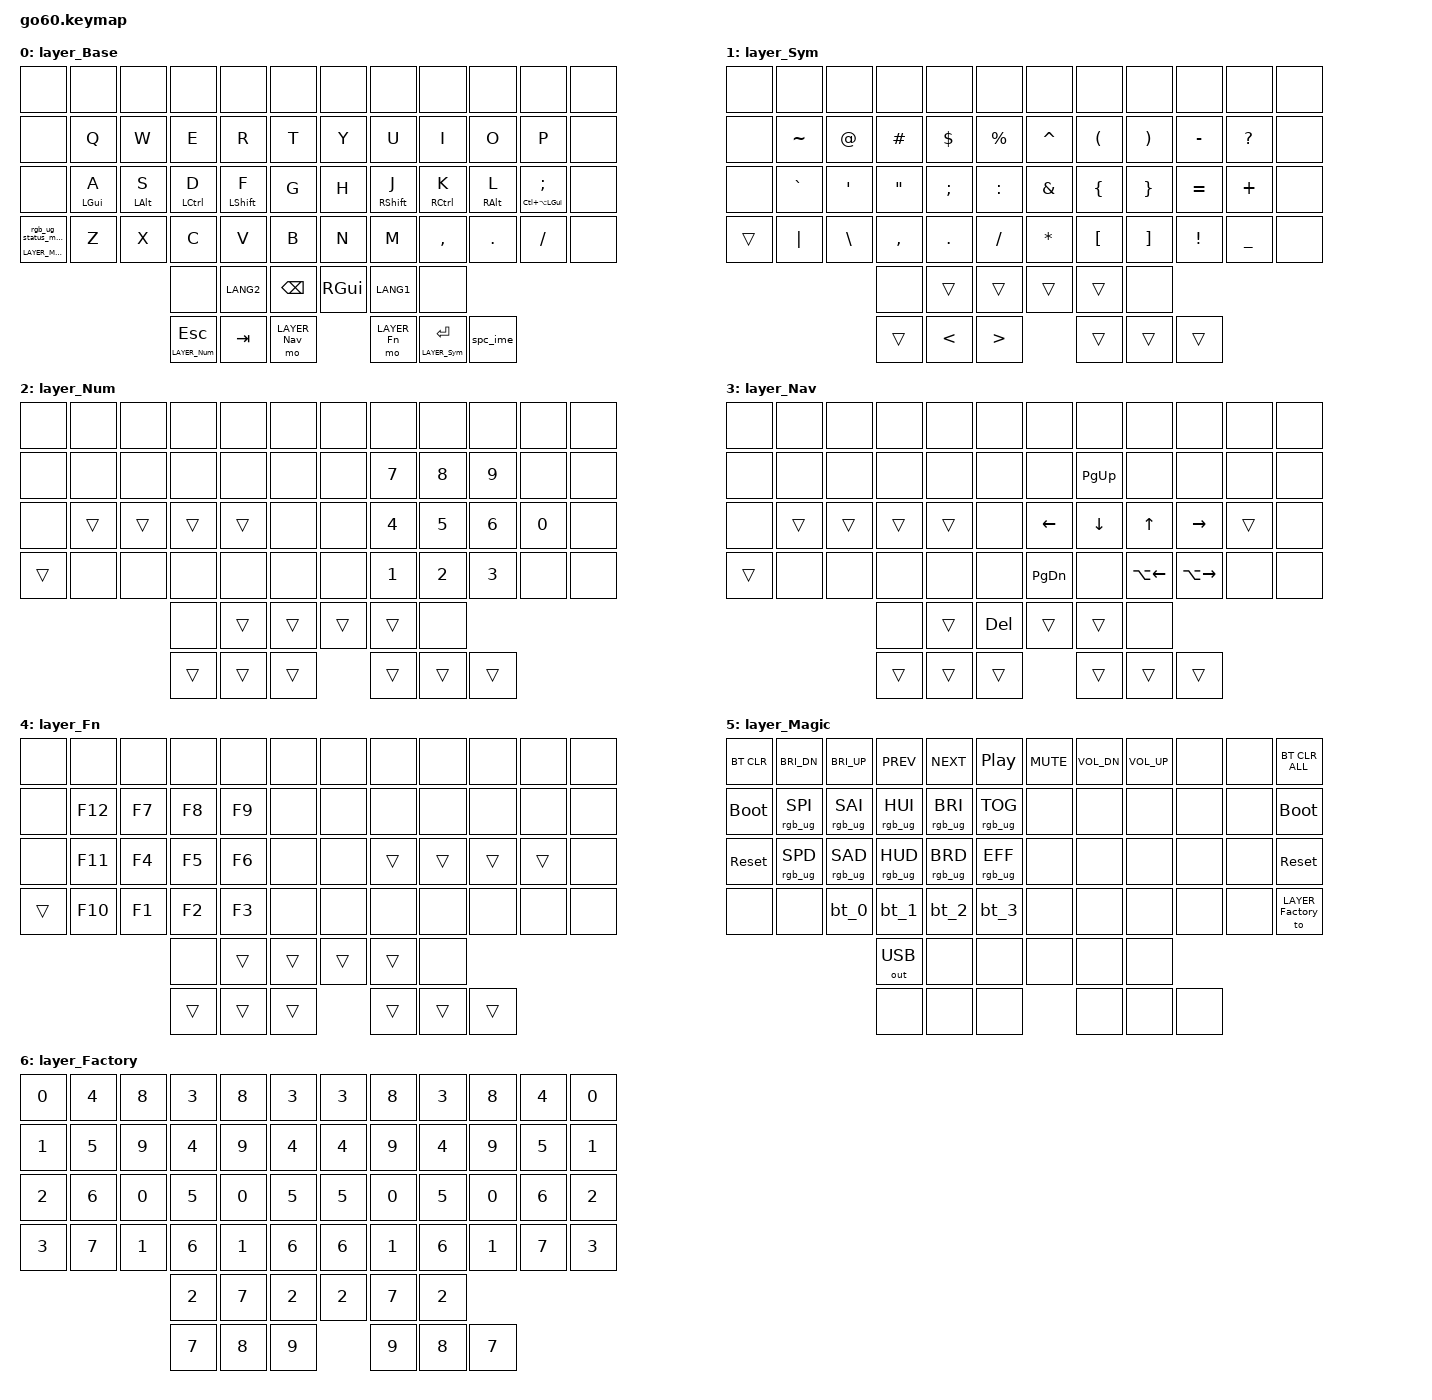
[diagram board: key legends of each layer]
#include <behaviors.dtsi>

#include <dt-bindings/zmk/bt.h>
#include <dt-bindings/zmk/ext_power.h>
#include <dt-bindings/zmk/keys.h>
#include <dt-bindings/zmk/outputs.h>
#include <dt-bindings/zmk/rgb.h>
#include <dt-bindings/zmk/input_transform.h>
#include <dt-bindings/zmk/pointing.h>

#include <input/processors.dtsi>
#include <zephyr/dt-bindings/input/input-event-codes.h>

// layers
#define LAYER_Base 0
#define LAYER_Sym 1
#define LAYER_Num 2
#define LAYER_Nav 3
#define LAYER_Fn 4
#define LAYER_Magic 5
#define LAYER_Factory 6

#define KEYS_L  0  1  2  3  4  5 12 13 14 15 16 17 24 25 26 27 28 29 36 37 38 39 40 41 48 49 50
#define KEYS_R  6  7  8  9 10 11 18 19 20 21 22 23 30 31 32 33 34 35 42 43 44 45 46 47 51 52 53
#define KEYS_T 54 55 56 57 58 59

/ {
    input_processors {
        zip_click_to_right_click_mapper: zip_click_to_right_click_mapper {
            compatible = "zmk,input-processor-code-mapper";
            #input-processor-cells = <0>;
            type = <INPUT_EV_KEY>;
            map = <INPUT_BTN_0 INPUT_BTN_1>;
        };
    };

    behaviors {
        magic: magic {
            compatible = "zmk,behavior-hold-tap";
            #binding-cells = <2>;
            flavor = "tap-preferred";
            tapping-term-ms = <200>;
            bindings = <&mo>, <&rgb_ug_status_macro>;
        };

        hrm_l: hrm_l {
            compatible = "zmk,behavior-hold-tap";
            #binding-cells = <2>;
            flavor = "balanced";
            tapping-term-ms = <180>;
            require-prior-idle-ms = <250>;
            quick-tap-ms = <200>;
            bindings = <&kp>, <&kp>;
            hold-trigger-key-positions = <KEYS_R KEYS_T>;
            hold-trigger-on-release;
        };

        hrm_lp: hrm_lp {
            compatible = "zmk,behavior-hold-tap";
            #binding-cells = <2>;
            flavor = "balanced";
            tapping-term-ms = <220>;
            require-prior-idle-ms = <250>;
            quick-tap-ms = <200>;
            bindings = <&kp>, <&kp>;
            hold-trigger-key-positions = <KEYS_R KEYS_T>;
            hold-trigger-on-release;
        };

        hrm_r: hrm_r {
            compatible = "zmk,behavior-hold-tap";
            #binding-cells = <2>;
            flavor = "balanced";
            tapping-term-ms = <180>;
            require-prior-idle-ms = <250>;
            quick-tap-ms = <200>;
            bindings = <&kp>, <&kp>;
            hold-trigger-key-positions = <KEYS_L KEYS_T>;
            hold-trigger-on-release;
        };

        mt_hyper: mt_hyper {
            compatible = "zmk,behavior-hold-tap";
            #binding-cells = <2>;
            flavor = "balanced";
            tapping-term-ms = <180>;
            require-prior-idle-ms = <150>;
            quick-tap-ms = <200>;
            bindings = <&kp>, <&kp>;
        };

        lt_thumb: lt_thumb {
            compatible = "zmk,behavior-hold-tap";
            #binding-cells = <2>;
            flavor = "balanced";
            tapping-term-ms = <180>;
            quick-tap-ms = <200>;
            bindings = <&mo>, <&kp>;
        };

        spc_ime: spc_ime {
            compatible = "zmk,behavior-mod-morph";
            #binding-cells = <0>;
            bindings = <&kp SPACE>, <&tmux_prefix>;
            mods = <(MOD_LCTL|MOD_RCTL)>;
        };

        bt_0: bt_0 {
            compatible = "zmk,behavior-tap-dance";
            #binding-cells = <0>;
            tapping-term-ms = <200>;
            bindings = <&bt_select_0>, <&bt BT_DISC 0>;
        };
        bt_1: bt_1 {
            compatible = "zmk,behavior-tap-dance";
            #binding-cells = <0>;
            tapping-term-ms = <200>;
            bindings = <&bt_select_1>, <&bt BT_DISC 1>;
        };
        bt_2: bt_2 {
            compatible = "zmk,behavior-tap-dance";
            #binding-cells = <0>;
            tapping-term-ms = <200>;
            bindings = <&bt_select_2>, <&bt BT_DISC 2>;
        };
        bt_3: bt_3 {
            compatible = "zmk,behavior-tap-dance";
            #binding-cells = <0>;
            tapping-term-ms = <200>;
            bindings = <&bt_select_3>, <&bt BT_DISC 3>;
        };
    };

    macros {
        tmux_prefix: tmux_prefix {
            compatible = "zmk,behavior-macro";
            #binding-cells = <0>;
            bindings = <&macro_tap &kp LANG2 &kp LC(SPACE)>;
        };

        rgb_ug_status_macro: rgb_ug_status_macro {
            compatible = "zmk,behavior-macro";
            #binding-cells = <0>;
            bindings = <&rgb_ug RGB_STATUS>;
        };

        bt_select_0: bt_select_0 {
            compatible = "zmk,behavior-macro";
            #binding-cells = <0>;
            bindings
                = <&out OUT_BLE>,
                  <&bt BT_SEL 0>;
        };
        bt_select_1: bt_select_1 {
            compatible = "zmk,behavior-macro";
            #binding-cells = <0>;
            bindings
                = <&out OUT_BLE>,
                  <&bt BT_SEL 1>;
        };
        bt_select_2: bt_select_2 {
            compatible = "zmk,behavior-macro";
            #binding-cells = <0>;
            bindings
                = <&out OUT_BLE>,
                  <&bt BT_SEL 2>;
        };
        bt_select_3: bt_select_3 {
            compatible = "zmk,behavior-macro";
            #binding-cells = <0>;
            bindings
                = <&out OUT_BLE>,
                  <&bt BT_SEL 3>;
        };
    };

    keymap {
        compatible = "zmk,keymap";

        layer_Base {
            bindings = <
                           &none           &none          &none           &none           &none  &none        &none           &none           &none          &none                        &none  &none
                           &none           &kp Q          &kp W           &kp E           &kp R  &kp T        &kp Y           &kp U           &kp I          &kp O                        &kp P  &none
                           &none  &hrm_lp LGUI A  &hrm_l LALT S  &hrm_l LCTRL D  &hrm_l LSHFT F  &kp G        &kp H  &hrm_r RSHFT J  &hrm_r RCTRL K  &hrm_r RALT L  &mt_hyper LC(LA(LGUI)) SEMI  &none
            &magic LAYER_Magic 0           &kp Z          &kp X           &kp C           &kp V  &kp B        &kp N           &kp M       &kp COMMA        &kp DOT                     &kp FSLH  &none
                                                                          &none       &kp LANG2  &kp BSPC        &kp RGUI       &kp LANG1           &none
                                                                     &lt_thumb LAYER_Num ESC  &kp TAB  &mo LAYER_Nav      &mo LAYER_Fn  &lt_thumb LAYER_Sym RET  &spc_ime
            >;
        };

        layer_Sym {
            bindings = <
             &none      &none     &none      &none     &none      &none            &none     &none     &none      &none      &none  &none
             &none  &kp TILDE    &kp AT   &kp HASH  &kp DLLR  &kp PRCNT        &kp CARET  &kp LPAR  &kp RPAR  &kp MINUS  &kp QMARK  &none
             &none  &kp GRAVE   &kp SQT    &kp DQT  &kp SEMI  &kp COLON         &kp AMPS  &kp LBRC  &kp RBRC  &kp EQUAL   &kp PLUS  &none
            &trans   &kp PIPE  &kp BSLH  &kp COMMA   &kp DOT   &kp FSLH        &kp ASTRK  &kp LBKT  &kp RBKT   &kp EXCL  &kp UNDER  &none
                                             &none    &trans     &trans           &trans    &trans     &none
                                             &trans  &kp LESS_THAN  &kp GREATER_THAN      &trans  &trans  &trans
            >;
        };

        layer_Num {
            bindings = <
             &none   &none   &none   &none   &none  &none        &none   &none   &none   &none   &none  &none
             &none   &none   &none   &none   &none  &none        &none  &kp N7  &kp N8  &kp N9   &none  &none
             &none  &trans  &trans  &trans  &trans  &none        &none  &kp N4  &kp N5  &kp N6  &kp N0  &none
            &trans   &none   &none   &none   &none  &none        &none  &kp N1  &kp N2  &kp N3   &none  &none
                                     &none  &trans  &trans        &trans  &trans   &none
                                        &trans  &trans  &trans      &trans  &trans  &trans
            >;
        };

        layer_Nav {
            bindings = <
             &none   &none   &none   &none   &none  &none            &none      &none         &none          &none   &none  &none
             &none   &none   &none   &none   &none  &none            &none  &kp PG_UP         &none          &none   &none  &none
             &none  &trans  &trans  &trans  &trans  &none         &kp LEFT   &kp DOWN        &kp UP      &kp RIGHT  &trans  &none
            &trans   &none   &none   &none   &none  &none        &kp PG_DN      &none  &kp LA(LEFT)  &kp LA(RIGHT)   &none  &none
                                     &none  &trans  &kp DEL           &trans     &trans         &none
                                        &trans  &trans  &trans      &trans  &trans  &trans
            >;
        };

        layer_Fn {
            bindings = <
             &none    &none   &none   &none   &none  &none        &none   &none   &none   &none   &none  &none
             &none  &kp F12  &kp F7  &kp F8  &kp F9  &none        &none   &none   &none   &none   &none  &none
             &none  &kp F11  &kp F4  &kp F5  &kp F6  &none        &none  &trans  &trans  &trans  &trans  &none
            &trans  &kp F10  &kp F1  &kp F2  &kp F3  &none        &none   &none   &none   &none   &none  &none
                                      &none  &trans  &trans        &trans  &trans   &none
                                         &trans  &trans  &trans      &trans  &trans  &trans
            >;
        };

        layer_Magic {
            bindings = <
             &bt BT_CLR     &kp C_BRI_DN     &kp C_BRI_UP       &kp C_PREV       &kp C_NEXT         &kp C_PP        &kp C_MUTE  &kp C_VOL_DN  &kp C_VOL_UP  &none  &none     &bt BT_CLR_ALL
            &bootloader  &rgb_ug RGB_SPI  &rgb_ug RGB_SAI  &rgb_ug RGB_HUI  &rgb_ug RGB_BRI  &rgb_ug RGB_TOG             &none         &none         &none  &none  &none        &bootloader
             &sys_reset  &rgb_ug RGB_SPD  &rgb_ug RGB_SAD  &rgb_ug RGB_HUD  &rgb_ug RGB_BRD  &rgb_ug RGB_EFF             &none         &none         &none  &none  &none         &sys_reset
                  &none            &none            &bt_0            &bt_1            &bt_2            &bt_3             &none         &none         &none  &none  &none  &to LAYER_Factory
                                                              &out OUT_USB            &none            &none             &none         &none         &none
                                                               &none  &none  &none      &none  &none  &none
            >;
        };

        layer_Factory {
            bindings = <
            &kp N0  &kp N4  &kp N8  &kp N3  &kp N8  &kp N3        &kp N3  &kp N8  &kp N3  &kp N8  &kp N4  &kp N0
            &kp N1  &kp N5  &kp N9  &kp N4  &kp N9  &kp N4        &kp N4  &kp N9  &kp N4  &kp N9  &kp N5  &kp N1
            &kp N2  &kp N6  &kp N0  &kp N5  &kp N0  &kp N5        &kp N5  &kp N0  &kp N5  &kp N0  &kp N6  &kp N2
            &kp N3  &kp N7  &kp N1  &kp N6  &kp N1  &kp N6        &kp N6  &kp N1  &kp N6  &kp N1  &kp N7  &kp N3
                                    &kp N2  &kp N7  &kp N2        &kp N2  &kp N7  &kp N2
                                        &kp N7  &kp N8  &kp N9      &kp N9  &kp N8  &kp N7
            >;
        };
    };
};

&cirque_rh_listener {
    input-processors = <&zip_xy_scaler 6 1>;
};

&cirque_lh_listener {
    input-processors = <&zip_xy_to_scroll_mapper>, <&zip_scroll_scaler 1 8>, <&zip_scroll_transform INPUT_TRANSFORM_Y_INVERT>, <&zip_click_to_right_click_mapper>;
    layer_factory {
        layers = <LAYER_Factory>;
        input-processors = <&zip_xy_scaler 3 1>;
    };
};
